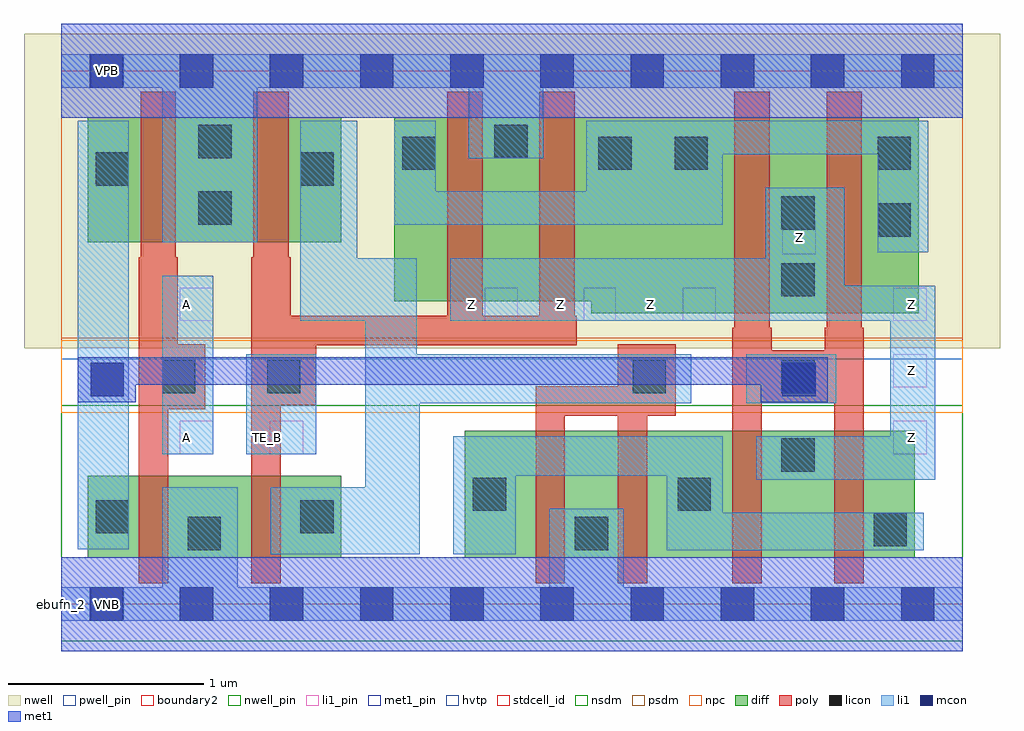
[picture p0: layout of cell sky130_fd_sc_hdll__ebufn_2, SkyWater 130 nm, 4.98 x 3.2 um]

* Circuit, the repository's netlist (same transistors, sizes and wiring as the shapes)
* Copyright 2020 The SkyWater PDK Authors
*
* Licensed under the Apache License, Version 2.0 (the "License");
* you may not use this file except in compliance with the License.
* You may obtain a copy of the License at
*
*     https://www.apache.org/licenses/LICENSE-2.0
*
* Unless required by applicable law or agreed to in writing, software
* distributed under the License is distributed on an "AS IS" BASIS,
* WITHOUT WARRANTIES OR CONDITIONS OF ANY KIND, either express or implied.
* See the License for the specific language governing permissions and
* limitations under the License.
*
* SPDX-License-Identifier: Apache-2.0

.SUBCKT sky130_fd_sc_hdll__ebufn_2 A TE_B VGND VNB VPB VPWR Z
*.PININFO A:I TE_B:I VGND:I VNB:I VPB:I VPWR:I Z:O
MMN0 Z net35 sndA VNB sky130_fd_pr__nfet_01v8 m=2 w=0.65U l=0.15U mult=1 sa=0.265
+ sb=0.265 sd=0.28 area=0.063 perim=1.14
MMN1 sndA net39 VGND VNB sky130_fd_pr__nfet_01v8 m=2 w=0.65U l=0.15U mult=1 sa=0.265
+ sb=0.265 sd=0.28 area=0.063 perim=1.14
MMIN1 net39 TE_B VGND VNB sky130_fd_pr__nfet_01v8 m=1 w=0.42U l=0.15U mult=1 sa=0.265
+ sb=0.265 sd=0.28 area=0.063 perim=1.14
MI6 net35 A VGND VNB sky130_fd_pr__nfet_01v8 m=1 w=0.42U l=0.15U mult=1 sa=0.265
+ sb=0.265 sd=0.28 area=0.063 perim=1.14
MMP0 VPWR TE_B sndTEB VPB sky130_fd_pr__pfet_01v8_hvt m=2 w=0.94U l=0.18U mult=1
+ sa=0.265 sb=0.265 sd=0.28 area=0.063 perim=1.14
MMP1 sndTEB net35 Z VPB sky130_fd_pr__pfet_01v8_hvt m=2 w=1.0U l=0.18U mult=1 sa=0.265
+ sb=0.265 sd=0.28 area=0.063 perim=1.14
MMIP1 net39 TE_B VPWR VPB sky130_fd_pr__pfet_01v8_hvt m=1 w=0.64U l=0.18U mult=1
+ sa=0.265 sb=0.265 sd=0.28 area=0.063 perim=1.14
MI5 net35 A VPWR VPB sky130_fd_pr__pfet_01v8_hvt m=1 w=0.64U l=0.18U mult=1 sa=0.265
+ sb=0.265 sd=0.28 area=0.063 perim=1.14
.ENDS sky130_fd_sc_hdll__ebufn_2

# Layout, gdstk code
import gdstk
lib = gdstk.Library(unit=1e-6, precision=1e-09)
def R(c, l, rs):  # rectangles x0, y0, x1, y1
    for r in rs: c.add(gdstk.rectangle(r[:2], r[2:], *l))
def A(c, l, x, y, w, h, nx, ny, dx, dy):  # array of equal rectangles
    R(c, l, [(x+i*dx, y+j*dy, x+i*dx+w, y+j*dy+h) for i in range(nx) for j in range(ny)])
def P(c, l, *ps):  # polygons
    for p in ps: c.add(gdstk.Polygon(p, *l))
nwell_pin = (64, 16)
nwell = (64, 20)
diff = (65, 20)
poly = (66, 20)
licon = (66, 44)
li1_pin = (67, 16)
li1 = (67, 20)
mcon = (67, 44)
met1_pin = (68, 16)
met1 = (68, 20)
hvtp = (78, 44)
stdcell_id = (81, 4)
nsdm = (93, 44)
psdm = (94, 20)
npc = (95, 20)
pwell_pin = (122, 16)
boundary2 = (236, 0)

sky130_fd_sc_hdll__ebufn = lib.new_cell('sky130_fd_sc_hdll__ebufn_2')
R(sky130_fd_sc_hdll__ebufn, nwell_pin, [(0.15,2.635,0.32,2.805)])
R(sky130_fd_sc_hdll__ebufn, nwell, [(-0.19,1.305,4.79,2.91)])
R(sky130_fd_sc_hdll__ebufn, diff, [(0.135,0.235,1.43,0.655), (2.06,0.235,4.355,0.885), (0.135,1.845,1.43,2.485)])
P(sky130_fd_sc_hdll__ebufn, diff, [(4.375,2.485),(1.7,2.485),(1.7,1.545),(2.705,1.545),(2.705,1.485),(4.375,1.485)])
P(sky130_fd_sc_hdll__ebufn, poly, [(0.735,1.325),(0.595,1.325),(0.595,1.77),(0.585,1.77),(0.585,2.615),(0.405,2.615),(0.405,1.77),(0.395,1.77),(0.395,0.105),(0.545,0.105),(0.545,0.995),(0.735,0.995)],
  [(2.63,1.47),(2.62,1.47),(2.62,2.615),(2.44,2.615),(2.44,1.47),(2.15,1.47),(2.15,2.615),(1.97,2.615),(1.97,1.47),(1.17,1.47),(1.17,1.77),(1.16,1.77),(1.16,2.615),(0.98,2.615),(0.98,1.77),(0.97,1.77),(0.97,0.105),(1.12,0.105),(1.12,1.015),(1.3,1.015),(1.3,1.32),(2.63,1.32)],
  [(3.135,1.325),(2.84,1.325),(2.84,1.11),(2.42,1.11),(2.42,0.105),(2.57,0.105),(2.57,0.96),(2.84,0.96),(2.84,0.105),(2.99,0.105),(2.99,0.96),(3.135,0.96)],
  [(4.095,1.41),(4.085,1.41),(4.085,2.615),(3.905,2.615),(3.905,1.41),(3.895,1.41),(3.895,1.295),(3.625,1.295),(3.625,1.41),(3.615,1.41),(3.615,2.615),(3.435,2.615),(3.435,1.41),(3.425,1.41),(3.425,0.105),(3.575,0.105),(3.575,1.025),(3.945,1.025),(3.945,0.105),(4.095,0.105)])
R(sky130_fd_sc_hdll__ebufn, licon, [(0.645,0.275,0.815,0.445), (2.62,0.275,2.79,0.445), (4.145,0.295,4.315,0.465), (0.175,0.36,0.345,0.53), (1.22,0.36,1.39,0.53), (2.1,0.475,2.27,0.645), (3.145,0.475,3.315,0.645), (3.675,0.675,3.845,0.845), (0.515,1.075,0.685,1.245), (1.05,1.075,1.22,1.245), (2.915,1.075,3.085,1.245), (3.675,1.075,3.845,1.245), (3.675,1.57,3.845,1.74), (4.165,1.875,4.335,2.045), (3.675,1.91,3.845,2.08), (0.7,1.935,0.87,2.105), (0.175,2.135,0.345,2.305), (1.22,2.135,1.39,2.305), (1.74,2.215,1.91,2.385), (2.74,2.215,2.91,2.385), (3.13,2.215,3.3,2.385), (4.165,2.215,4.335,2.385), (0.7,2.275,0.87,2.445), (2.21,2.275,2.38,2.445)])
A(sky130_fd_sc_hdll__ebufn, li1_pin, 4.245, 0.765, 0.17, 0.17, 1, 3, 0, 0.34)
R(sky130_fd_sc_hdll__ebufn, li1_pin, [(0.605,0.765,0.775,0.935), (1.065,0.765,1.235,0.935), (0.605,1.445,0.775,1.615), (2.16,1.445,2.33,1.615), (2.665,1.445,2.83,1.615), (3.17,1.445,3.34,1.615), (3.68,1.785,3.85,1.955)])
R(sky130_fd_sc_hdll__ebufn, li1, [(0.085,0.28,0.345,2.465), (0.515,0.765,0.775,1.675), (0.945,0.765,1.3,1.275), (3.495,1.025,3.955,1.275)])
P(sky130_fd_sc_hdll__ebufn, li1, [(4.6,0.085),(2.87,0.085),(2.87,0.485),(2.49,0.485),(2.49,0.085),(0.9,0.085),(0.9,0.595),(0.515,0.595),(0.515,0.085),(0,0.085),(0,-0.085),(4.6,-0.085)],
  [(4.6,2.805),(0,2.805),(0,2.635),(0.515,2.635),(0.515,1.845),(1,1.845),(1,2.635),(2.08,2.635),(2.08,2.275),(2.46,2.275),(2.46,2.635),(4.6,2.635)],
  [(4.46,1.625),(3.995,1.625),(3.995,2.125),(3.595,2.125),(3.595,1.765),(1.985,1.765),(1.985,1.445),(4.23,1.445),(4.23,0.855),(3.545,0.855),(3.545,0.635),(4.46,0.635)],
  [(4.425,2.465),(2.68,2.465),(2.68,2.105),(1.91,2.105),(1.91,2.465),(1.7,2.465),(1.7,1.935),(3.375,1.935),(3.375,2.295),(4.165,2.295),(4.165,1.795),(4.425,1.795)],
  [(4.4,0.465),(3.375,0.465),(3.375,0.855),(2,0.855),(2,0.255),(2.32,0.255),(2.32,0.655),(3.09,0.655),(3.09,0.275),(4.4,0.275)],
  [(3.215,1.275),(1.815,1.275),(1.815,1.765),(1.51,1.765),(1.51,2.465),(1.22,2.465),(1.22,1.445),(1.55,1.445),(1.55,0.595),(1.07,0.595),(1.07,0.255),(1.83,0.255),(1.83,1.025),(3.215,1.025)])
A(sky130_fd_sc_hdll__ebufn, mcon, 0.145, -0.085, 0.17, 0.17, 10, 2, 0.46, 2.72)
R(sky130_fd_sc_hdll__ebufn, mcon, [(0.15,1.06,0.32,1.23), (3.68,1.06,3.85,1.23)])
R(sky130_fd_sc_hdll__ebufn, met1_pin, [(0.15,-0.085,0.32,0.085), (0.15,2.635,0.32,2.805)])
R(sky130_fd_sc_hdll__ebufn, met1, [(0,-0.24,4.6,0.24), (0,2.48,4.6,2.96)])
P(sky130_fd_sc_hdll__ebufn, met1, [(3.91,1.26),(0.085,1.26),(0.085,1.03),(0.38,1.03),(0.38,1.12),(3.57,1.12),(3.57,1.03),(3.91,1.03)])
R(sky130_fd_sc_hdll__ebufn, hvtp, [(0,1.25,4.6,2.72)])
R(sky130_fd_sc_hdll__ebufn, stdcell_id, [(0,0,4.6,2.72)])
R(sky130_fd_sc_hdll__ebufn, nsdm, [(0,-0.19,4.6,1.015)])
R(sky130_fd_sc_hdll__ebufn, psdm, [(0,1.355,4.6,2.91)])
R(sky130_fd_sc_hdll__ebufn, npc, [(0,0.975,4.6,1.345)])
R(sky130_fd_sc_hdll__ebufn, pwell_pin, [(0.15,-0.085,0.32,0.085)])
R(sky130_fd_sc_hdll__ebufn, boundary2, [(0,0,4.6,2.72)])
sky130_fd_sc_hdll__ebufn.add(gdstk.Label('Z', (4.34,1.19), layer=67, texttype=5))
sky130_fd_sc_hdll__ebufn.add(gdstk.Label('Z', (4.34,1.53), layer=67, texttype=5))
sky130_fd_sc_hdll__ebufn.add(gdstk.Label('A', (0.64,0.85), layer=67, texttype=5))
sky130_fd_sc_hdll__ebufn.add(gdstk.Label('Z', (3.765,1.87), layer=67, texttype=5))
sky130_fd_sc_hdll__ebufn.add(gdstk.Label('A', (0.64,1.53), layer=67, texttype=5))
sky130_fd_sc_hdll__ebufn.add(gdstk.Label('TE_B', (1.05,0.85), layer=67, texttype=5))
sky130_fd_sc_hdll__ebufn.add(gdstk.Label('Z', (3.005,1.53), layer=67, texttype=5))
sky130_fd_sc_hdll__ebufn.add(gdstk.Label('Z', (2.545,1.53), layer=67, texttype=5))
sky130_fd_sc_hdll__ebufn.add(gdstk.Label('Z', (2.095,1.53), layer=67, texttype=5))
sky130_fd_sc_hdll__ebufn.add(gdstk.Label('Z', (4.34,0.85), layer=67, texttype=5))
sky130_fd_sc_hdll__ebufn.add(gdstk.Label('VNB', (0.235,0), layer=64, texttype=59))
sky130_fd_sc_hdll__ebufn.add(gdstk.Label('VPB', (0.235,2.72), layer=64, texttype=5))
sky130_fd_sc_hdll__ebufn.add(gdstk.Label('VGND', (0.23,0), layer=68, texttype=5))
sky130_fd_sc_hdll__ebufn.add(gdstk.Label('VPWR', (0.23,2.72), layer=68, texttype=5))
sky130_fd_sc_hdll__ebufn.add(gdstk.Label('ebufn_2', (0,0), layer=83, texttype=44))

lib.write_gds('sky130_fd_sc_hdll__ebufn_2.gds')
